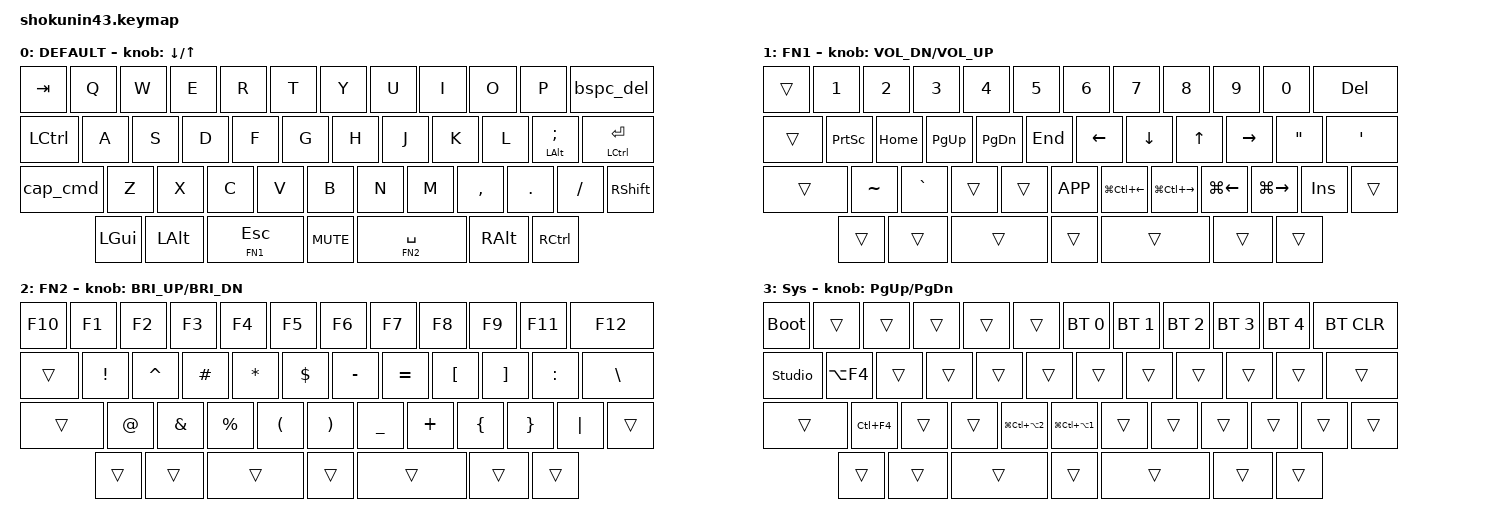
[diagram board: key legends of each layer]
#include <behaviors.dtsi>
#include <dt-bindings/zmk/keys.h>
#include <dt-bindings/zmk/bt.h>


/*
 * ZMK Keymap – generated from keyboard-layout-internal.json (KLE format)
 *
 * Layout overview (row by row):
 *   Row 0 : Tab  Q W E R T  Y U I O P  Backspace
 *   Row 1 : Ctrl  A S D F G  H J K L ;  Enter
 *   Row 2 : Shift  Z X C V B  N M , . /  Shift
 *   Row 3 : Gui  Alt  Esc  [ENC]  Space  Alt  Fn
 *
 * Layers:
 *   0 – DEFAULT
 *   1 – FN1  (activated by left-thumb key)
 *   2 – FN2  (activated by right-thumb key)
 *   3 – Sys  (activated by left- and right-thumb key)
 */


 #define CG_LEFT &kp LG(LC(LEFT))
 #define CG_RGHT &kp LG(LC(RIGHT))
// #define AG_UP &kp LA(UP)
#define G_LEFT &kp LG(LEFT)
#define G_RGHT &kp LG(RIGHT)
// #define G_UP &kp    LG(UP)
// #define G_DOWN &kp  LG(DOWN)
 #define A_F4 &kp LA(F4)
 #define C_F4 &kp LC(F4)
 #define FN1 1 
 #define FN2 2 
 #define CAG_1 &kp LG(LC(LA(N1)))
 #define CAG_2 &kp LG(LC(LA(N2)))

/* ── Encoder behaviour ─────────────────────────────────────────────────────── */
/ {
    sensors {
        compatible = "zmk,keymap-sensors";
        sensors = <&rot_ec11>;
        triggers-per-rotation = <20>;
    };
};

&caps_word {
    continue-list = <UNDERSCORE MINUS BACKSPACE DELETE SPACE>;
};

/ {
    conditional_layers {
        compatible = "zmk,conditional-layers";
        tri_layer {
            if-layers = <1 2>;
            then-layer = <3>;
        };
    };
};

/ {
    behaviors {
		// Shift-Backspace = Delete
        bspc_del: backspace_delete {
            compatible = "zmk,behavior-mod-morph";
            #binding-cells = <0>;
            bindings = <&kp BACKSPACE>, <&kp DELETE>;
            mods = <(MOD_LSFT|MOD_RSFT)>;
            keep-mods = <(MOD_RSFT)>;
        };

        cap_cmd: cap_words {
            compatible = "zmk,behavior-tap-dance";
            #binding-cells = <0>;
            tapping-term-ms = <200>;
            bindings = <&kp LSHFT>, <&caps_word>;
        };
    };
};

/* ── Key matrix ────────────────────────────────────────────────────────────── */
/ {
    keymap {
        compatible = "zmk,keymap";

        /* ── Layer 0 : DEFAULT ─────────────────────────────────────────────── */
        default_layer {
            display-name = "DEFAULT";
            bindings = <
                &kp TAB   &kp Q  &kp W  &kp E  &kp R  &kp T    &kp Y  &kp U  &kp I      &kp O    &kp P     &bspc_del
                &kp LCTRL &kp A  &kp S  &kp D  &kp F  &kp G    &kp H  &kp J  &kp K      &kp L    &mt LALT SEMI &mt LCTRL RET
                &cap_cmd &kp Z  &kp X  &kp C  &kp V  &kp B    &kp N  &kp M  &kp COMMA  &kp DOT  &kp FSLH  &kp RSHFT
                            &kp LGUI  &kp LALT &lt FN1 ESC  &kp C_MUTE  &lt FN2 SPACE  &kp RALT  &kp RCTRL 
            >;

            sensor-bindings = <&inc_dec_kp DOWN UP>;
        };

        /* ── Layer 1 : FN1 (Space-thumb hold) ─────────────────────────────── */
            /*  TAB           Q          W         E         R         T         Y          U          I          O          P         BSPC  */
            /*  LCTRL         A          S         D         F         G         H          J          K          L      SEMI      RET       */
            /*  LSHFT         Z          X         C         V         B             N       M       COMMA     DOT        FSLH      RSHFT */
            /*                  LGUI    LALT   &lt 1 ESC C_MUTE  &lt 2 SPACE      RALT      RCTRL               */
        fn1_layer {
            display-name = "FN1";
            bindings = <
                &trans  &kp N1     &kp N2    &kp N3    &kp N4    &kp N5    &kp N6     &kp N7     &kp N8     &kp N9     &kp N0    &kp DEL
                &trans  &kp PSCRN  &kp HOME  &kp PG_UP &kp PG_DN &kp END   &kp LEFT   &kp DOWN   &kp UP     &kp RIGHT  &kp DQT   &kp APOS
                &trans  &kp TILDE  &kp GRAVE &trans    &trans    &kp K_APP CG_LEFT    CG_RGHT    G_LEFT     G_RGHT     &kp INS   &trans
                                &trans  &trans  &trans  &trans   &trans   &trans   &trans
            >;

            /* Encoder: rotate = volume up/down, press = mute (mapped above as C_MUTE) */
            sensor-bindings = <&inc_dec_kp C_VOL_DN C_VOL_UP>;
        };

        /* ── Layer 2 : FN2 (Space-thumb hold) ─────────────────────────────── */
        fn2_layer {
            display-name = "FN2";
            bindings = <
                &kp F10  &kp F1   &kp F2    &kp F3    &kp F4     &kp F5      &kp F6     &kp F7     &kp F8    &kp F9    &kp F11    &kp F12 
                &trans   &kp EXCL &kp CARET &kp HASH  &kp ASTRK  &kp DOLLAR  &kp MINUS  &kp EQUAL  &kp LBKT  &kp RBKT  &kp COLON  &kp BSLH
                &trans   &kp AT   &kp AMPS  &kp PRCNT &kp LPAR   &kp RPAR    &kp UNDER  &kp PLUS   &kp LBRC  &kp RBRC  &kp PIPE   &trans
                                &trans   &trans  &trans &trans   &trans   &trans   &trans
            >;

            sensor-bindings = <&inc_dec_kp C_BRI_UP C_BRI_DN>;
        };

        /* ── Layer 3 : FN3 (System and Macros) ───────── */
        fn3_layer {
            display-name = "Sys";
            bindings = <
                &bootloader &trans  &trans  &trans  &trans  &trans  &bt BT_SEL 0  &bt BT_SEL 1  &bt BT_SEL 2  &bt BT_SEL 3  &bt BT_SEL 4  &bt BT_CLR   
              &studio_unlock A_F4        &trans        &trans        &trans        &trans        &trans  &trans  &trans  &trans  &trans  &trans
                &trans       C_F4        &trans        &trans        CAG_2         CAG_1         &trans  &trans  &trans  &trans  &trans  &trans
                            &trans       &trans        &trans        &trans        &trans        &trans        &trans
            >;

            sensor-bindings = <&inc_dec_kp PG_UP PG_DN>;
        };
    };
};


